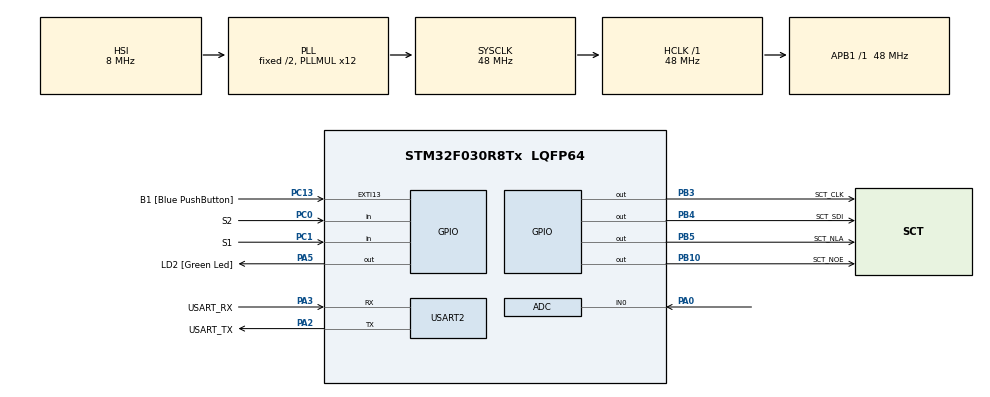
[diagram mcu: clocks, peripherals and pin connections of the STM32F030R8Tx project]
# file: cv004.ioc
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ADC.ContinuousConvMode=ENABLE
ADC.Overrun=ADC_OVR_DATA_OVERWRITTEN
ADC.SamplingTime=ADC_SAMPLETIME_239CYCLES_5
Mcu.Family=STM32F0
Mcu.Name=STM32F030R8Tx
Mcu.Package=LQFP64
NVIC.ADC1_IRQn=true\:0\:0\:false\:false\:true\:true\:true\:true
PA0.Mode=IN0
PA0.Signal=ADC_IN0
PA13.GPIO_Label=TMS
PA13.Mode=Serial_Wire
PA13.Signal=SYS_SWDIO
PA14.GPIO_Label=TCK
PA14.Mode=Serial_Wire
PA14.Signal=SYS_SWCLK
PA2.GPIO_Label=USART_TX
PA2.GPIO_Mode=GPIO_MODE_AF_PP
PA2.GPIO_PuPd=GPIO_NOPULL
PA2.GPIO_Speed=GPIO_SPEED_FREQ_LOW
PA2.Mode=Asynchronous
PA2.Signal=USART2_TX
PA3.GPIO_Label=USART_RX
PA3.GPIO_Mode=GPIO_MODE_AF_PP
PA3.GPIO_PuPd=GPIO_NOPULL
PA3.GPIO_Speed=GPIO_SPEED_FREQ_LOW
PA3.Mode=Asynchronous
PA3.Signal=USART2_RX
PA5.GPIO_Label=LD2 [Green Led]
PA5.GPIO_Mode=GPIO_MODE_OUTPUT_PP
PA5.GPIO_PuPd=GPIO_NOPULL
PA5.GPIO_Speed=GPIO_SPEED_FREQ_LOW
PA5.Signal=GPIO_Output
PB10.GPIO_Label=SCT_NOE
PB10.Signal=GPIO_Output
PB3.GPIO_Label=SCT_CLK
PB3.Signal=GPIO_Output
PB4.GPIO_Label=SCT_SDI
PB4.Signal=GPIO_Output
PB5.GPIO_Label=SCT_NLA
PB5.Signal=GPIO_Output
PC0.GPIO_Label=S2
PC0.GPIO_PuPd=GPIO_PULLUP
PC0.Signal=GPIO_Input
PC1.GPIO_Label=S1
PC1.GPIO_PuPd=GPIO_PULLUP
PC1.Signal=GPIO_Input
PC13.GPIO_Label=B1 [Blue PushButton]
PC13.GPIO_ModeDefaultEXTI=GPIO_MODE_IT_FALLING
PC13.Signal=GPXTI13
PC14-OSC32_IN.Mode=LSE-External-Oscillator
PC14-OSC32_IN.Signal=RCC_OSC32_IN
PC15-OSC32_OUT.Mode=LSE-External-Oscillator
PC15-OSC32_OUT.Signal=RCC_OSC32_OUT
PF0-OSC_IN.Mode=HSE-External-Clock-Source
PF0-OSC_IN.Signal=RCC_OSC_IN
PF1-OSC_OUT.Signal=RCC_OSC_OUT
ProjectManager.HeapSize=0x200
ProjectManager.StackSize=0x400
ProjectManager.TargetToolchain=STM32CubeIDE
RCC.AHBFreq_Value=48000000
RCC.APB1Freq_Value=48000000
RCC.APB1TimFreq_Value=48000000
RCC.HCLKFreq_Value=48000000
RCC.PLLMUL=RCC_PLL_MUL12
RCC.SYSCLKFreq_VALUE=48000000
RCC.SYSCLKSource=RCC_SYSCLKSOURCE_PLLCLK
USART2.VirtualMode-Asynchronous=VM_ASYNC
VP_ADC_TempSens_Input.Mode=IN-TempSens
VP_ADC_Vref_Input.Mode=IN-Vrefint
board=NUCLEO-F030R8

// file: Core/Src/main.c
/* USER CODE BEGIN Header */
/**
  ******************************************************************************
  * @file           : main.c
  * @brief          : Main program body
  ******************************************************************************
  * @attention
  *
  * Copyright (c) 2023 STMicroelectronics.
  * All rights reserved.
  *
  * This software is licensed under terms that can be found in the LICENSE file
  * in the root directory of this software component.
  * If no LICENSE file comes with this software, it is provided AS-IS.
  *
  ******************************************************************************
  */
/* USER CODE END Header */
#include "main.h"

/* USER CODE BEGIN Includes */
#include "sct.h"
/* USER CODE END Includes */

/* USER CODE BEGIN PD */
#define ADC_Q 12
#define TEMP110_CAL_ADDR ((uint16_t*) ((uint32_t) 0x1FFFF7C2))
#define TEMP30_CAL_ADDR ((uint16_t*) ((uint32_t) 0x1FFFF7B8))
#define VREFINT_CAL_ADDR ((uint16_t*) ((uint32_t) 0x1FFFF7BA))
#define DISPLAY_DELAY 1000
/* USER CODE END PD */

ADC_HandleTypeDef hadc;

UART_HandleTypeDef huart2;

/* USER CODE BEGIN PV */
static volatile uint32_t raw_pot;
static volatile uint32_t raw_temp;
static volatile uint32_t raw_volt;
volatile uint32_t Tick;
/* USER CODE END PV */

void SystemClock_Config(void);
static void MX_GPIO_Init(void);
static void MX_USART2_UART_Init(void);
static void MX_ADC_Init(void);

/* USER CODE BEGIN 0 */
void HAL_ADC_ConvCpltCallback(ADC_HandleTypeDef* hadc){

	static uint8_t channel = 0;
	static uint32_t avg_pot;

	switch (channel) {
		case 0: // Potenciometer channell
			raw_pot = avg_pot >> ADC_Q;
			avg_pot -= raw_pot;
			avg_pot += HAL_ADC_GetValue(hadc);

			break;
		case 1: // Temperature sensor channell
			raw_temp = HAL_ADC_GetValue(hadc);

			break;
		case 2: // Vref channell
			raw_volt = HAL_ADC_GetValue(hadc);

			break;
		default:
			break;
	}
	if (__HAL_ADC_GET_FLAG(hadc, ADC_FLAG_EOS)){
		channel = 0;
	}
	else{
		channel++;
	}
}
/* USER CODE END 0 */

int main(void)
{

  /* MCU Configuration--------------------------------------------------------*/

  /* Reset of all peripherals, Initializes the Flash interface and the Systick. */
  HAL_Init();

  /* Configure the system clock */
  SystemClock_Config();

  /* Initialize all configured peripherals */
  MX_GPIO_Init();
  MX_USART2_UART_Init();
  MX_ADC_Init();
  /* USER CODE BEGIN 2 */
  //Init SCT library
  sct_init();

  HAL_ADCEx_Calibration_Start(&hadc);
  HAL_ADC_Start_IT(&hadc);
  /* USER CODE END 2 */

	/* Infinite loop */
	/* USER CODE BEGIN WHILE */
	while (1) {
		uint32_t voltage = 330 * (*VREFINT_CAL_ADDR) / raw_volt;
		int32_t temperature = (raw_temp - (int32_t) (*TEMP30_CAL_ADDR));
		temperature = temperature * (int32_t) (110 - 30);
		temperature = temperature
				/ (int32_t) (*TEMP110_CAL_ADDR - *TEMP30_CAL_ADDR);
		temperature = temperature + 30;

		static enum {
			SHOW_POT, SHOW_VOLT, SHOW_TEMP
		} state = SHOW_POT;

		if (!HAL_GPIO_ReadPin(S1_GPIO_Port, S1_Pin)) {
			state = SHOW_VOLT;
			Tick = HAL_GetTick();

		}
		if (!HAL_GPIO_ReadPin(S2_GPIO_Port, S2_Pin)) {
			state = SHOW_TEMP;
			Tick = HAL_GetTick();

		}

		if (HAL_GetTick() > Tick + DISPLAY_DELAY) {
			state = SHOW_POT;

		}

		switch (state) {
		case SHOW_POT:
			sct_value((raw_pot * 500.5) / 4095, (raw_pot * 8.5) / 4095);
			break;
		case SHOW_TEMP:
			sct_value(temperature, (raw_pot * 8.5) / 4095);
			break;
		case SHOW_VOLT:
			sct_value(voltage, (raw_pot * 8.5) / 4095);
			break;
		default:
			break;
		}
		//HAL_GPIO_ReadPin(S2_GPIO_Port, S2_Pin);
		//sct_value((raw_vref*500.5)/4095, (raw_pot*8.5)/4095);
		HAL_Delay(10);

    /* USER CODE END WHILE */

  }
}

void SystemClock_Config(void)
{
  RCC_OscInitTypeDef RCC_OscInitStruct = {0};
  RCC_ClkInitTypeDef RCC_ClkInitStruct = {0};

  /** Initializes the RCC Oscillators according to the specified parameters
  * in the RCC_OscInitTypeDef structure.
  */
  RCC_OscInitStruct.OscillatorType = RCC_OSCILLATORTYPE_HSI|RCC_OSCILLATORTYPE_HSI14;
  RCC_OscInitStruct.HSIState = RCC_HSI_ON;
  RCC_OscInitStruct.HSI14State = RCC_HSI14_ON;
  RCC_OscInitStruct.HSICalibrationValue = RCC_HSICALIBRATION_DEFAULT;
  RCC_OscInitStruct.HSI14CalibrationValue = 16;
  RCC_OscInitStruct.PLL.PLLState = RCC_PLL_ON;
  RCC_OscInitStruct.PLL.PLLSource = RCC_PLLSOURCE_HSI;
  RCC_OscInitStruct.PLL.PLLMUL = RCC_PLL_MUL12;
  RCC_OscInitStruct.PLL.PREDIV = RCC_PREDIV_DIV1;
  if (HAL_RCC_OscConfig(&RCC_OscInitStruct) != HAL_OK)
  {
    Error_Handler();
  }

  /** Initializes the CPU, AHB and APB buses clocks
  */
  RCC_ClkInitStruct.ClockType = RCC_CLOCKTYPE_HCLK|RCC_CLOCKTYPE_SYSCLK
                              |RCC_CLOCKTYPE_PCLK1;
  RCC_ClkInitStruct.SYSCLKSource = RCC_SYSCLKSOURCE_PLLCLK;
  RCC_ClkInitStruct.AHBCLKDivider = RCC_SYSCLK_DIV1;
  RCC_ClkInitStruct.APB1CLKDivider = RCC_HCLK_DIV1;

  if (HAL_RCC_ClockConfig(&RCC_ClkInitStruct, FLASH_LATENCY_1) != HAL_OK)
  {
    Error_Handler();
  }
}

static void MX_ADC_Init(void)
{

  ADC_ChannelConfTypeDef sConfig = {0};

  /** Configure the global features of the ADC (Clock, Resolution, Data Alignment and number of conversion)
  */
  hadc.Instance = ADC1;
  hadc.Init.ClockPrescaler = ADC_CLOCK_ASYNC_DIV1;
  hadc.Init.Resolution = ADC_RESOLUTION_12B;
  hadc.Init.DataAlign = ADC_DATAALIGN_RIGHT;
  hadc.Init.ScanConvMode = ADC_SCAN_DIRECTION_FORWARD;
  hadc.Init.EOCSelection = ADC_EOC_SINGLE_CONV;
  hadc.Init.LowPowerAutoWait = DISABLE;
  hadc.Init.LowPowerAutoPowerOff = DISABLE;
  hadc.Init.ContinuousConvMode = ENABLE;
  hadc.Init.DiscontinuousConvMode = DISABLE;
  hadc.Init.ExternalTrigConv = ADC_SOFTWARE_START;
  hadc.Init.ExternalTrigConvEdge = ADC_EXTERNALTRIGCONVEDGE_NONE;
  hadc.Init.DMAContinuousRequests = DISABLE;
  hadc.Init.Overrun = ADC_OVR_DATA_OVERWRITTEN;
  if (HAL_ADC_Init(&hadc) != HAL_OK)
  {
    Error_Handler();
  }

  /** Configure for the selected ADC regular channel to be converted.
  */
  sConfig.Channel = ADC_CHANNEL_0;
  sConfig.Rank = ADC_RANK_CHANNEL_NUMBER;
  sConfig.SamplingTime = ADC_SAMPLETIME_239CYCLES_5;
  if (HAL_ADC_ConfigChannel(&hadc, &sConfig) != HAL_OK)
  {
    Error_Handler();
  }

  /** Configure for the selected ADC regular channel to be converted.
  */
  sConfig.Channel = ADC_CHANNEL_TEMPSENSOR;
  if (HAL_ADC_ConfigChannel(&hadc, &sConfig) != HAL_OK)
  {
    Error_Handler();
  }

  /** Configure for the selected ADC regular channel to be converted.
  */
  sConfig.Channel = ADC_CHANNEL_VREFINT;
  if (HAL_ADC_ConfigChannel(&hadc, &sConfig) != HAL_OK)
  {
    Error_Handler();
  }

}

static void MX_USART2_UART_Init(void)
{

  huart2.Instance = USART2;
  huart2.Init.BaudRate = 38400;
  huart2.Init.WordLength = UART_WORDLENGTH_8B;
  huart2.Init.StopBits = UART_STOPBITS_1;
  huart2.Init.Parity = UART_PARITY_NONE;
  huart2.Init.Mode = UART_MODE_TX_RX;
  huart2.Init.HwFlowCtl = UART_HWCONTROL_NONE;
  huart2.Init.OverSampling = UART_OVERSAMPLING_16;
  huart2.Init.OneBitSampling = UART_ONE_BIT_SAMPLE_DISABLE;
  huart2.AdvancedInit.AdvFeatureInit = UART_ADVFEATURE_NO_INIT;
  if (HAL_UART_Init(&huart2) != HAL_OK)
  {
    Error_Handler();
  }

}

static void MX_GPIO_Init(void)
{
  GPIO_InitTypeDef GPIO_InitStruct = {0};

  /* GPIO Ports Clock Enable */
  __HAL_RCC_GPIOC_CLK_ENABLE();
  __HAL_RCC_GPIOF_CLK_ENABLE();
  __HAL_RCC_GPIOA_CLK_ENABLE();
  __HAL_RCC_GPIOB_CLK_ENABLE();

  /*Configure GPIO pin Output Level */
  HAL_GPIO_WritePin(LD2_GPIO_Port, LD2_Pin, GPIO_PIN_RESET);

  /*Configure GPIO pin Output Level */
  HAL_GPIO_WritePin(GPIOB, SCT_NOE_Pin|SCT_CLK_Pin|SCT_SDI_Pin|SCT_NLA_Pin, GPIO_PIN_RESET);

  /*Configure GPIO pin : B1_Pin */
  GPIO_InitStruct.Pin = B1_Pin;
  GPIO_InitStruct.Mode = GPIO_MODE_IT_FALLING;
  GPIO_InitStruct.Pull = GPIO_NOPULL;
  HAL_GPIO_Init(B1_GPIO_Port, &GPIO_InitStruct);

  /*Configure GPIO pins : S2_Pin S1_Pin */
  GPIO_InitStruct.Pin = S2_Pin|S1_Pin;
  GPIO_InitStruct.Mode = GPIO_MODE_INPUT;
  GPIO_InitStruct.Pull = GPIO_PULLUP;
  HAL_GPIO_Init(GPIOC, &GPIO_InitStruct);

  /*Configure GPIO pin : LD2_Pin */
  GPIO_InitStruct.Pin = LD2_Pin;
  GPIO_InitStruct.Mode = GPIO_MODE_OUTPUT_PP;
  GPIO_InitStruct.Pull = GPIO_NOPULL;
  GPIO_InitStruct.Speed = GPIO_SPEED_FREQ_LOW;
  HAL_GPIO_Init(LD2_GPIO_Port, &GPIO_InitStruct);

  /*Configure GPIO pins : SCT_NOE_Pin SCT_CLK_Pin SCT_SDI_Pin SCT_NLA_Pin */
  GPIO_InitStruct.Pin = SCT_NOE_Pin|SCT_CLK_Pin|SCT_SDI_Pin|SCT_NLA_Pin;
  GPIO_InitStruct.Mode = GPIO_MODE_OUTPUT_PP;
  GPIO_InitStruct.Pull = GPIO_NOPULL;
  GPIO_InitStruct.Speed = GPIO_SPEED_FREQ_LOW;
  HAL_GPIO_Init(GPIOB, &GPIO_InitStruct);

}

void Error_Handler(void)
{
}
